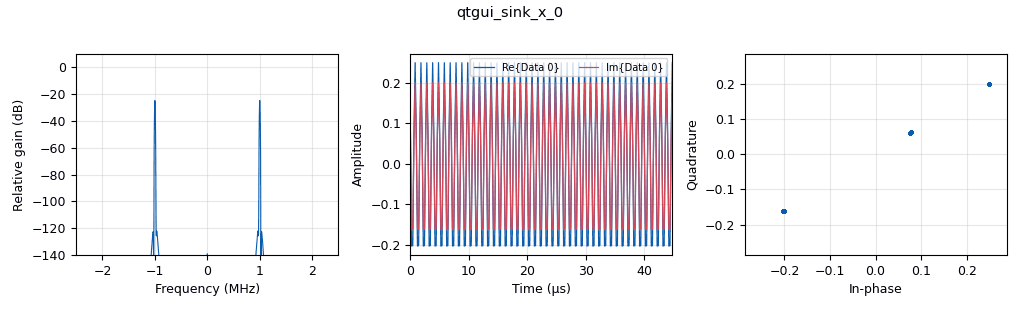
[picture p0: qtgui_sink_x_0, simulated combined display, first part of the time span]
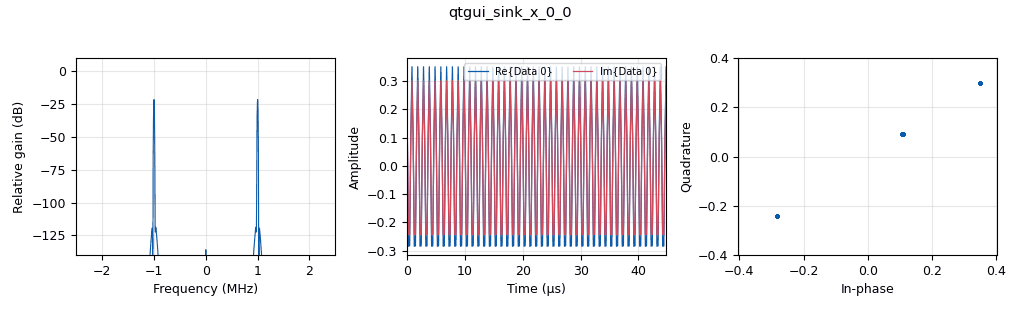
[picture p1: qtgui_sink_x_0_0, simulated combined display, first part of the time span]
options:
  parameters:
    author: ucanlab
    category: Custom
    description: (modified from Arsalan's DCO-OFDM Flowgraph in gr-owc)
    generate_options: qt_gui
    id: dco_ofdm_tx_select_2
    output_language: python
    run_options: run
    title: Two channel DCO-OFDM Tx with Subcarrier - Select
  states: {}

blocks:
- name: Mode_C1_TXA
  id: variable_qtgui_chooser
  parameters:
    label0: Single
    label1: Double
    num_opts: '2'
    option0: '0'
    option1: '1'
    type: int
    value: '0'
  states: {}
- name: Mode_C1_TXB
  id: variable_qtgui_chooser
  parameters:
    label0: Single
    label1: Double
    num_opts: '2'
    option0: '0'
    option1: '1'
    type: int
    value: '0'
  states: {}
- name: Mode_C2_TXA
  id: variable_qtgui_chooser
  parameters:
    label0: 'Single '
    label1: Double
    num_opts: '2'
    option0: '0'
    option1: '1'
    type: int
    value: '0'
  states: {}
- name: Mode_C2_TXB
  id: variable_qtgui_chooser
  parameters:
    label0: Single
    label1: Double
    num_opts: '2'
    option0: '0'
    option1: '1'
    type: int
    value: '0'
  states: {}
- name: Select1
  id: variable
  parameters:
    value: '0'
  states: {}
- name: amp_1
  id: variable
  parameters:
    value: '0.25'
  states: {}
- name: amp_2
  id: variable
  parameters:
    value: '0.25'
  states: {}
- name: amp_3
  id: variable
  parameters:
    value: '0.2'
  states: {}
- name: amp_4
  id: variable
  parameters:
    value: '0.2'
  states: {}
- name: amp_5
  id: variable
  parameters:
    value: '0.35'
  states: {}
- name: amp_6
  id: variable
  parameters:
    value: '0.35'
  states: {}
- name: amp_7
  id: variable
  parameters:
    value: '0.3'
  states: {}
- name: amp_8
  id: variable
  parameters:
    value: '0.3'
  states: {}
- name: fft_len
  id: variable
  parameters:
    value: '64'
  states: {}
- name: freq_1
  id: variable
  parameters:
    value: '1000000'
  states: {}
- name: freq_2
  id: variable
  parameters:
    value: '500000'
  states: {}
- name: freq_3
  id: variable
  parameters:
    value: '1000000'
  states: {}
- name: freq_4
  id: variable
  parameters:
    value: '500000'
  states: {}
- name: freq_5
  id: variable
  parameters:
    value: '1000000'
  states: {}
- name: freq_6
  id: variable
  parameters:
    value: '500000'
  states: {}
- name: freq_7
  id: variable
  parameters:
    value: '1000000'
  states: {}
- name: freq_8
  id: variable
  parameters:
    value: '500000'
  states: {}
- name: length_tag_key
  id: variable
  parameters:
    value: '"packet_len"'
  states: {}
- name: packet_len
  id: variable
  parameters:
    value: '96'
  states: {}
- name: samp_rate
  id: variable
  parameters:
    value: '5000000'
  states: {}
- name: samp_rate_usrp
  id: variable
  parameters:
    value: '1000000'
  states: {}
- name: select2
  id: variable
  parameters:
    value: '0'
  states: {}
- name: select3
  id: variable
  parameters:
    value: '0'
  states: {}
- name: select4
  id: variable
  parameters:
    value: '0'
  states: {}
- name: sync_word1
  id: variable
  parameters:
    value: '[0., 0., 0., 0., 0., 0., 0., 1.41421356, 0., -1.41421356, 0., 1.41421356, 0., -1.41421356, 0., -1.41421356, 0., -1.41421356, 0., 1.41421356, 0., -1.41421356, 0., 1.41421356, 0., -1.41421356, 0., -1.41421356, 0., -1.41421356, 0., -1.41421356, 0., 1.41421356, 0., -1.41421356, 0., 1.41421356, 0., 1.41421356, 0., 1.41421356, 0., -1.41421356, 0., 1.41421356, 0., 1.41421356, 0., 1.41421356, 0., -1.41421356, 0., 1.41421356, 0., 1.41421356, 0., 1.41421356, 0., 0., 0., 0., 0., 0.]'
  states: {}
- name: sync_word2
  id: variable
  parameters:
    value: '[0j, 0j, 0j, 0j, 0j, 0j, (-1+0j), (-1+0j), (-1+0j), (-1+0j), (1+0j), (1+0j), (-1+0j), (-1+0j), (-1+0j), (1+0j), (-1+0j), (1+0j), (1+0j), (1 +0j), (1+0j), (1+0j), (-1+0j), (-1+0j), (-1+0j), (-1+0j), (-1+0j), (1+0j), (-1+0j), (-1+0j), (1+0j), (-1+0j), 0j, (1+0j), (-1+0j), (1+0j), (1+0j), (1+0j), (-1+0j), (1+0j), (1+0j), (1+0j), (-1+0j), (1+0j), (1+0j), (1+0j), (1+0j), (-1+0j), (1+0j), (-1+0j), (-1+0j), (-1+0j), (1+0j), (-1+0j), (1+0j), (-1+0j), (-1+0j), (-1+0j), (-1+0j), 0j, 0j, 0j, 0j, 0j]'
  states: {}
- name: analog_sig_source_x_1_0
  id: analog_sig_source_x
  parameters:
    amp: amp_4
    freq: freq_4
    offset: '0'
    phase: '0'
    samp_rate: samp_rate
    type: float
    waveform: analog.GR_COS_WAVE
  states: {}
- name: analog_sig_source_x_1_0_0
  id: analog_sig_source_x
  parameters:
    amp: amp_8
    freq: freq_8
    offset: '0'
    phase: '0'
    samp_rate: samp_rate
    type: float
    waveform: analog.GR_COS_WAVE
  states: {}
- name: analog_sig_source_x_1_1
  id: analog_sig_source_x
  parameters:
    amp: amp_3
    freq: freq_3
    offset: '0'
    phase: '0'
    samp_rate: samp_rate
    type: float
    waveform: analog.GR_COS_WAVE
  states: {}
- name: analog_sig_source_x_1_1_0
  id: analog_sig_source_x
  parameters:
    amp: amp_7
    freq: freq_7
    offset: '0'
    phase: '0'
    samp_rate: samp_rate
    type: float
    waveform: analog.GR_COS_WAVE
  states: {}
- name: analog_sig_source_x_1_2
  id: analog_sig_source_x
  parameters:
    amp: amp_2
    freq: freq_2
    offset: '0'
    phase: '0'
    samp_rate: samp_rate
    type: float
    waveform: analog.GR_COS_WAVE
  states: {}
- name: analog_sig_source_x_1_2_0
  id: analog_sig_source_x
  parameters:
    amp: amp_6
    freq: freq_6
    offset: '0'
    phase: '0'
    samp_rate: samp_rate
    type: float
    waveform: analog.GR_COS_WAVE
  states: {}
- name: analog_sig_source_x_1_3
  id: analog_sig_source_x
  parameters:
    amp: amp_1
    freq: freq_1
    offset: '0'
    phase: '0'
    samp_rate: samp_rate
    type: float
    waveform: analog.GR_COS_WAVE
  states: {}
- name: analog_sig_source_x_1_3_0
  id: analog_sig_source_x
  parameters:
    amp: amp_5
    freq: freq_5
    offset: '0'
    phase: '0'
    samp_rate: samp_rate
    type: float
    waveform: analog.GR_COS_WAVE
  states: {}
- name: blocks_add_xx_0
  id: blocks_add_xx
  parameters:
    type: float
  states: {}
- name: blocks_add_xx_0_0
  id: blocks_add_xx
  parameters:
    type: float
  states: {}
- name: blocks_add_xx_0_0_0
  id: blocks_add_xx
  parameters:
    type: float
  states: {}
- name: blocks_add_xx_0_1
  id: blocks_add_xx
  parameters:
    type: float
  states: {}
- name: blocks_float_to_complex_2
  id: blocks_float_to_complex
  parameters: {}
  states: {}
- name: blocks_float_to_complex_2_0
  id: blocks_float_to_complex
  parameters: {}
  states: {}
- name: blocks_multiply_const_vxx_1
  id: blocks_multiply_const_vxx
  parameters:
    const: 1/2
    type: float
  states: {}
- name: blocks_multiply_const_vxx_1_0
  id: blocks_multiply_const_vxx
  parameters:
    const: 1/2
    type: float
  states: {}
- name: blocks_multiply_const_vxx_1_0_0
  id: blocks_multiply_const_vxx
  parameters:
    const: 1/2
    type: float
  states: {}
- name: blocks_multiply_const_vxx_1_1
  id: blocks_multiply_const_vxx
  parameters:
    const: 1/2
    type: float
  states: {}
- name: blocks_selector_0
  id: blocks_selector
  parameters:
    enabled: 'True'
    input_index: Mode_C1_TXA
    num_inputs: '2'
    num_outputs: '1'
    output_index: '0'
    type: float
  states: {}
- name: blocks_selector_0_0
  id: blocks_selector
  parameters:
    enabled: 'True'
    input_index: Mode_C1_TXB
    num_inputs: '2'
    num_outputs: '1'
    output_index: '0'
    type: float
  states: {}
- name: blocks_selector_0_0_0
  id: blocks_selector
  parameters:
    enabled: 'True'
    input_index: Mode_C2_TXB
    num_inputs: '2'
    num_outputs: '1'
    output_index: '0'
    type: float
  states: {}
- name: blocks_selector_0_1
  id: blocks_selector
  parameters:
    enabled: 'True'
    input_index: Mode_C2_TXA
    num_inputs: '2'
    num_outputs: '1'
    output_index: '0'
    type: float
  states: {}
- name: note_0
  id: note
  parameters:
    note: Ch1 TX A
  states: {}
- name: note_0_0
  id: note
  parameters:
    note: Ch1 TX B
  states: {}
- name: note_0_0_0
  id: note
  parameters:
    note: Ch1 TX B
  states: {}
- name: note_0_1
  id: note
  parameters:
    note: Ch2 TX A
  states: {}
- name: qtgui_sink_x_0
  id: qtgui_sink_x
  parameters:
    bw: samp_rate
    fc: '0'
    fftsize: '1024'
    type: complex
  states: {}
- name: qtgui_sink_x_0_0
  id: qtgui_sink_x
  parameters:
    bw: samp_rate
    fc: '0'
    fftsize: '1024'
    type: complex
  states: {}
- name: uhd_usrp_sink_0
  id: uhd_usrp_sink
  parameters:
    ant0: AB
    ant1: AB
    center_freq0: '0'
    center_freq1: '0'
    dev_addr: '"addr=192.168.10.2"'
    dev_args: '""'
    gain0: '0'
    gain1: '0'
    len_tag_name: ''
    nchan: '2'
    samp_rate: samp_rate_usrp
    sync: none
    type: fc32
  states: {}
- name: xmlrpc_server_0
  id: xmlrpc_server
  parameters:
    addr: localhost
    port: '8080'
  states: {}

connections:
- [analog_sig_source_x_1_0, '0', blocks_add_xx_0_0, '1']
- [analog_sig_source_x_1_0_0, '0', blocks_add_xx_0_0_0, '1']
- [analog_sig_source_x_1_1, '0', blocks_add_xx_0_0, '0']
- [analog_sig_source_x_1_1, '0', blocks_selector_0_0, '0']
- [analog_sig_source_x_1_1_0, '0', blocks_add_xx_0_0_0, '0']
- [analog_sig_source_x_1_1_0, '0', blocks_selector_0_0_0, '0']
- [analog_sig_source_x_1_2, '0', blocks_add_xx_0, '1']
- [analog_sig_source_x_1_2_0, '0', blocks_add_xx_0_1, '1']
- [analog_sig_source_x_1_3, '0', blocks_add_xx_0, '0']
- [analog_sig_source_x_1_3, '0', blocks_selector_0, '0']
- [analog_sig_source_x_1_3_0, '0', blocks_add_xx_0_1, '0']
- [analog_sig_source_x_1_3_0, '0', blocks_selector_0_1, '0']
- [blocks_add_xx_0, '0', blocks_multiply_const_vxx_1, '0']
- [blocks_add_xx_0_0, '0', blocks_multiply_const_vxx_1_0, '0']
- [blocks_add_xx_0_0_0, '0', blocks_multiply_const_vxx_1_0_0, '0']
- [blocks_add_xx_0_1, '0', blocks_multiply_const_vxx_1_1, '0']
- [blocks_float_to_complex_2, '0', qtgui_sink_x_0, '0']
- [blocks_float_to_complex_2, '0', uhd_usrp_sink_0, '0']
- [blocks_float_to_complex_2_0, '0', qtgui_sink_x_0_0, '0']
- [blocks_float_to_complex_2_0, '0', uhd_usrp_sink_0, '1']
- [blocks_multiply_const_vxx_1, '0', blocks_selector_0, '1']
- [blocks_multiply_const_vxx_1_0, '0', blocks_selector_0_0, '1']
- [blocks_multiply_const_vxx_1_0_0, '0', blocks_selector_0_0_0, '1']
- [blocks_multiply_const_vxx_1_1, '0', blocks_selector_0_1, '1']
- [blocks_selector_0, '0', blocks_float_to_complex_2, '0']
- [blocks_selector_0_0, '0', blocks_float_to_complex_2, '1']
- [blocks_selector_0_0_0, '0', blocks_float_to_complex_2_0, '1']
- [blocks_selector_0_1, '0', blocks_float_to_complex_2_0, '0']

metadata:
  file_format: 1
  grc_version: 3.10.4.0
